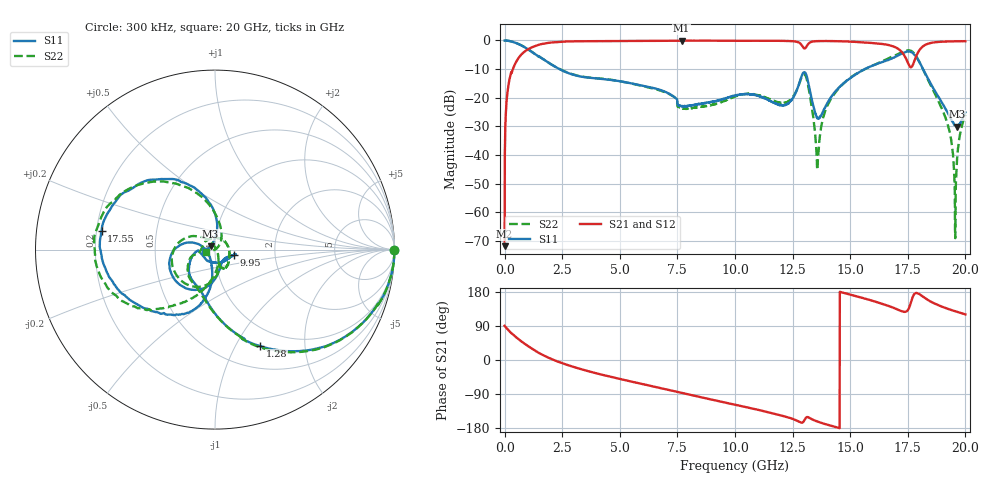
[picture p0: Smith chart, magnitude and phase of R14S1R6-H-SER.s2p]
!{R14S1R6}
!Johanson Technology Inc.
!www.johansontechnology.com
!Test Board Conditions:
!Substrate Type  RO4350B
!Substrate Thickness  20 mil
!Substrate Dk  3.66
!TL Type: GCPW
!TL Trace Width  36 mil
!TL Gap  12 mil
!Electrode orientation  Horizontal
!DUT TOPOLOGY	SERIES
!Mounting Pad LxW  26x36 mil
! Created Wed Nov 25 17:33:21 2020
! 2 Port Network Data from SP1.SP block
! freq  magS11  angS11  magS21  angS21  magS12  angS12  magS22  angS22
# khz S ma R 50
! decimated to every 10th point (10 MHz spacing) of the original 1 MHz Johanson file; values unchanged
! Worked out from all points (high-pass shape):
!   2001 points, 300 kHz to 20 GHz, reference 50 ohm
!   highest |S21| = -0.06 dB at 7.68 GHz (marker M1); lowest = -71.8 dB at 300 kHz (marker M2)
!   |S21| within 3 dB of the highest: 1.021 GHz to 17.11 GHz (16.09 GHz wide, 177 % of centre); 18.03 GHz to end of sweep
!   lowest |S11| = -30.1 dB at 19.63 GHz (marker M3), VSWR 1.06, Z = 47.5 + j1.79 ohm
!   |S11| at or under -10 dB: 2.382 GHz to 15.63 GHz (13.25 GHz wide, 147 % of centre); 18.16 GHz to end of sweep
!   |S22| runs from -69.0 to 0.0 dB; largest |S21 - S12| = 0.016
!   S11 on the Smith chart (normalised r, x): 300 kHz: open; 1.28 GHz: 0.76, -1.26; 9.95 GHz: 1.23, -0.07; 17.55 GHz: 0.22, +0.08; 20 GHz: 0.90, -0.02
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300  0.9962 -0.3  0.0002573 90.3  0.0003656 95.5  0.9983 -0.1
110300  0.9936 -7.4  0.1102 82.5  0.1107 82.5  0.9935 -7.4
220300  0.9751 -14.6  0.2168 75.1  0.2175 75.1  0.9753 -14.7
1280300  0.5931 -65.0  0.7868 26.5  0.786 26.4  0.5969 -65.5
3340300  0.2334 -112.9  0.9687 -24.6  0.9694 -24.6  0.2355 -115.6
6670300  0.1404 -160.6  0.9849 -72.8  0.9859 -72.9  0.1371 -163.3
7680300  0.0717 -111.1  0.9928 -86.7  0.9921 -86.6  0.06632 120.1
9950300  0.1085 -15.8  0.9867 -117.3  0.9878 -117.3  0.1033 -43.2
1.00003e7  0.1103 -15.3  0.988 -118.0  0.987 -118.0  0.1049 -45.5
1.22003e7  0.07508 -53.9  0.9821 -149.6  0.9849 -149.4  0.08325 -73.9
1.30003e7  0.2801 -141.8  0.7296 -160.3  0.7324 -160.3  0.2571 -148.1
1.33403e7  0.09091 162.1  0.9508 -156.4  0.9489 -156.4  0.06552 125.8
1.35903e7  0.04495 -157.6  0.973 -162.7  0.9762 -162.7  0.007659 2.4
1.43603e7  0.13 -96.9  0.9725 -176.9  0.9739 -176.8  0.124 -87.6
1.66703e7  0.4572 -129.1  0.8307 142.7  0.8211 142.4  0.4921 -136.7
1.75503e7  0.64 170.5  0.3732 136.9  0.3688 137.2  0.6765 174.7
1.82203e7  0.2854 99.3  0.8202 164.5  0.8209 164.7  0.28 101.1
1.90603e7  0.07292 87.1  0.9543 138.9  0.9549 139.1  0.05408 53.7
1.93603e7  0.0438 102.3  0.9624 132.5  0.9598 132.9  0.02098 39.7
1.95203e7  0.03358 123.0  0.9615 129.4  0.9638 129.5  0.004133 35.3
1.96303e7  0.03127 143.0  0.9667 127.2  0.9652 127.5  0.00758 -153.3
2e7  0.05579 -170.3  0.9701 120.5  0.9676 120.6  0.05073 -162.7
